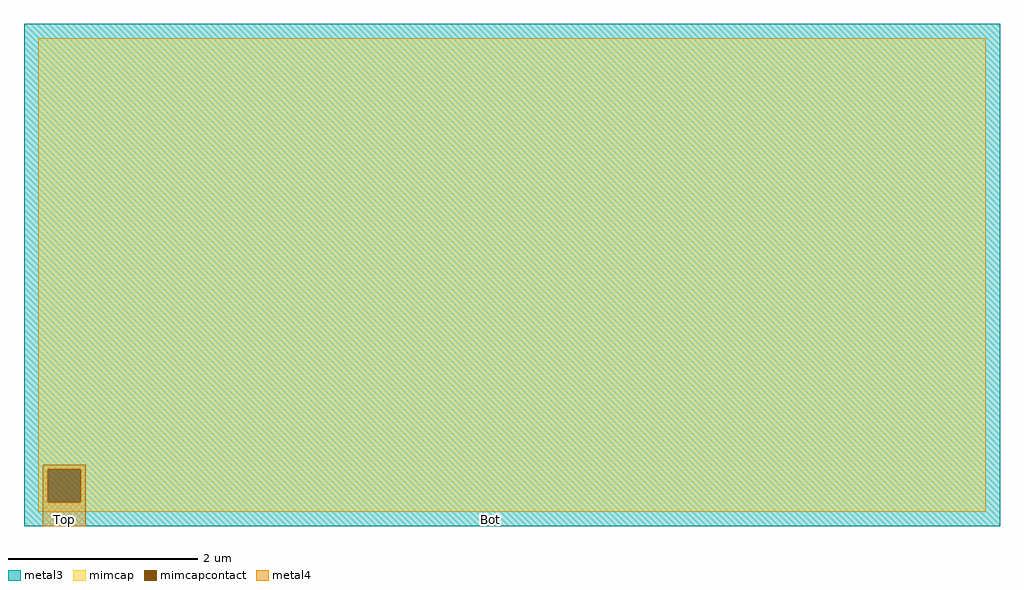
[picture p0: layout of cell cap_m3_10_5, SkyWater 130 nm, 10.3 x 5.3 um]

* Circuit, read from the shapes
.subckt cap_m3_10_5 Top Bot
XC1 Top Bot sky130_fd_pr__cap_mim_m3_1 w=10 l=5
.ends

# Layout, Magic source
magic
tech sky130A
<< metal3 >>
rect -15 -15 1015 515
<< mimcap >>
rect 0 45 1000 500
rect 0 10 10 45
rect 45 10 1000 45
rect 0 0 1000 10
<< mimcapcontact >>
rect 10 10 45 45
<< metal4 >>
rect 5 45 50 50
rect 5 10 10 45
rect 45 10 50 45
rect 5 -15 50 10
<< labels >>
rlabel metal4 5 -15 50 0 5 Top
port 1 s
rlabel metal3 455 -15 500 0 5 Bot
port 2 s
<< end >>
